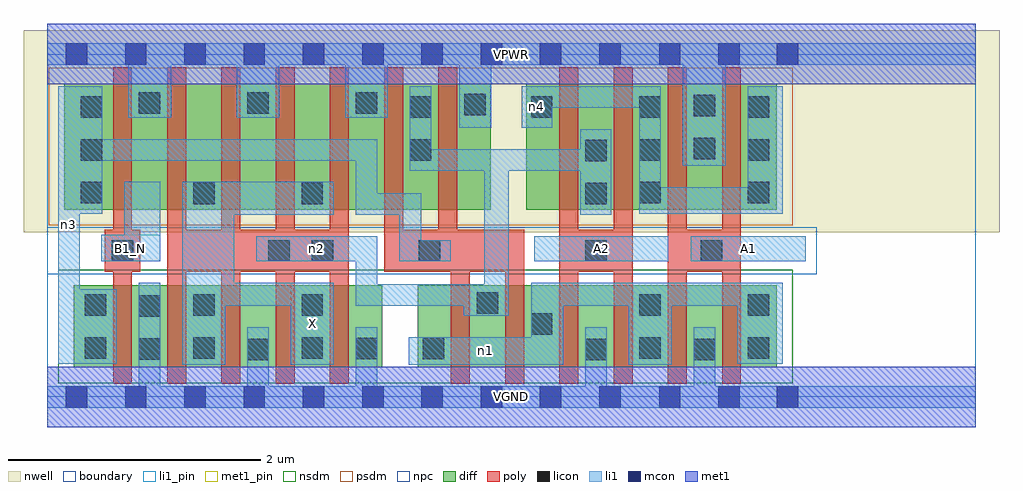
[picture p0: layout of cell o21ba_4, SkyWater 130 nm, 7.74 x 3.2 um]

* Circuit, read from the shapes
.subckt o21ba_4 A1 A2 B1_N VGND VPWR X n1 n2 n3 n4
XM1 VGND B1_N n3 VSUBS sky130_fd_pr__nfet_01v8 w=0.65 l=0.15
XM2 X n2 VGND VSUBS sky130_fd_pr__nfet_01v8 w=0.65 l=0.15 m=4
XM3 n2 n3 n1 VSUBS sky130_fd_pr__nfet_01v8 w=0.65 l=0.15 m=2
XM4 VGND A2 n1 VSUBS sky130_fd_pr__nfet_01v8 w=0.65 l=0.15 m=2
XM5 VGND A1 n1 VSUBS sky130_fd_pr__nfet_01v8 w=0.65 l=0.15 m=2
XM6 VPWR B1_N n3 n5 sky130_fd_pr__pfet_01v8 w=1 l=0.15
XM7 X n2 VPWR n5 sky130_fd_pr__pfet_01v8 w=1 l=0.15 m=4
XM8 n2 n3 VPWR n5 sky130_fd_pr__pfet_01v8 w=1 l=0.15 m=2
XM9 n2 A2 n4 n5 sky130_fd_pr__pfet_01v8 w=1 l=0.15 m=2
XM10 VPWR A1 n4 n5 sky130_fd_pr__pfet_01v8 w=1 l=0.15 m=2
.ends

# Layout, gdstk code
import gdstk
lib = gdstk.Library(unit=1e-6, precision=1e-09)
def R(c, l, rs):  # rectangles x0, y0, x1, y1
    for r in rs: c.add(gdstk.rectangle(r[:2], r[2:], *l))
def A(c, l, x, y, w, h, nx, ny, dx, dy):  # array of equal rectangles
    R(c, l, [(x+i*dx, y+j*dy, x+i*dx+w, y+j*dy+h) for i in range(nx) for j in range(ny)])
nwell = (64, 20)
diff = (65, 20)
poly = (66, 20)
licon = (66, 44)
li1_pin = (67, 16)
li1 = (67, 20)
mcon = (67, 44)
met1_pin = (68, 16)
met1 = (68, 20)
nsdm = (93, 44)
psdm = (94, 20)
npc = (95, 20)
boundary = (235, 4)

o21ba_4 = lib.new_cell('o21ba_4')
R(o21ba_4, nwell, [(-0.19,1.305,7.55,2.91), (0,1.305,7.36,2.91)])
R(o21ba_4, diff, [(0.21,0.235,2.655,0.885), (2.935,0.235,5.785,0.885), (0.135,1.485,3.515,2.485), (3.795,1.485,5.785,2.485)])
A(o21ba_4, poly, 0.52, 0.105, 0.15, 2.51, 5, 1, 0.43, 0)
A(o21ba_4, poly, 4.06, 0.105, 0.15, 2.51, 4, 1, 0.43, 0)
R(o21ba_4, poly, [(3.2,0.105,3.35,1.325), (3.63,0.105,3.78,1.325), (0.455,0.995,0.735,1.325), (0.95,0.995,2.39,1.325), (2.67,0.995,3.78,1.325), (2.67,0.995,2.82,2.615), (3.1,0.995,3.25,2.615), (4.06,0.995,4.64,1.325), (4.92,0.995,5.5,1.325)])
A(o21ba_4, licon, 0.295, 0.305, 0.17, 0.17, 3, 2, 0.86, 0.34)
A(o21ba_4, licon, 0.265, 1.535, 0.17, 0.17, 1, 3, 0, 0.34)
A(o21ba_4, licon, 3.835, 2.215, 0.17, 0.17, 3, 1, 0.86, 0)
A(o21ba_4, licon, 0.725, 2.245, 0.17, 0.17, 3, 1, 0.86, 0)
R(o21ba_4, licon, [(1.585,0.29,1.755,0.46), (4.265,0.29,4.435,0.46), (5.125,0.29,5.295,0.46), (0.725,0.295,0.895,0.465), (2.445,0.3,2.615,0.47), (2.975,0.3,3.145,0.47), (4.695,0.305,4.865,0.475), (5.555,0.305,5.725,0.475), (3.835,0.495,4.005,0.665), (0.725,0.635,0.895,0.805), (4.695,0.645,4.865,0.815), (5.555,0.645,5.725,0.815), (3.405,0.66,3.575,0.83), (0.51,1.075,0.68,1.245), (1.75,1.075,1.92,1.245), (2.095,1.075,2.265,1.245), (2.945,1.075,3.115,1.245), (4.265,1.075,4.435,1.245), (5.18,1.075,5.35,1.245), (1.155,1.53,1.325,1.7), (2.015,1.53,2.185,1.7), (4.265,1.53,4.435,1.7), (4.695,1.535,4.865,1.705), (5.555,1.535,5.725,1.705), (4.265,1.87,4.435,2.04), (2.875,1.875,3.045,2.045), (4.695,1.875,4.865,2.045), (5.555,1.875,5.725,2.045), (5.125,1.885,5.295,2.055), (2.875,2.215,3.045,2.385), (5.125,2.225,5.295,2.395), (3.305,2.235,3.475,2.405)])
R(o21ba_4, li1_pin, [(1.93,0.255,2.27,0.905), (0.425,1.075,0.895,1.285), (3.86,1.075,4.925,1.275), (5.1,1.075,6.015,1.275)])
A(o21ba_4, li1, 0.64, 2.215, 0.34, 0.59, 3, 1, 0.86, 0)
R(o21ba_4, li1, [(0,-0.085,7.36,0.085), (0.725,-0.085,0.895,0.905), (1.585,-0.085,1.755,0.555), (2.445,-0.085,2.615,0.555), (4.265,-0.085,4.435,0.555), (5.125,-0.085,5.295,0.555), (1.07,0.255,1.41,1.705), (1.93,0.255,2.27,0.905), (2.865,0.255,4.09,0.475), (3.835,0.255,4.09,0.905), (4.61,0.255,4.95,0.905), (0.085,0.265,0.255,2.465), (0.085,0.265,0.55,0.855), (5.47,0.265,5.83,0.905), (3.3,0.645,3.66,0.895), (3.465,0.645,3.66,1.965), (1.07,0.725,2.27,0.905), (1.07,0.725,1.48,1.705), (2.445,0.725,3.66,0.895), (2.445,0.725,2.615,1.275), (3.835,0.725,5.83,0.905), (0.425,1.075,0.895,1.285), (0.61,1.075,0.895,1.705), (1.655,1.075,2.615,1.275), (2.79,1.075,2.965,1.615), (2.79,1.075,3.2,1.245), (3.86,1.075,4.925,1.275), (5.1,1.075,6.015,1.275), (1.07,1.445,2.27,1.705), (2.445,1.445,2.615,2.045), (2.445,1.445,2.965,1.615), (4.225,1.445,4.47,2.125), (0.085,1.455,0.435,2.465), (4.695,1.455,5.83,1.665), (4.695,1.455,4.865,2.465), (5.555,1.455,5.83,2.465), (2.875,1.795,4.47,1.965), (2.875,1.795,3.045,2.465), (5.04,1.835,5.38,2.805), (0.085,1.875,2.615,2.045), (3.265,2.135,3.52,2.805), (3.76,2.135,4.005,2.465), (3.76,2.295,4.865,2.465), (0,2.635,7.36,2.805)])
A(o21ba_4, mcon, 0.145, -0.085, 0.17, 0.17, 10, 2, 0.47, 2.72)
R(o21ba_4, mcon, [(4.85,-0.085,5.02,0.085), (5.32,-0.085,5.49,0.085), (5.785,-0.085,5.955,0.085), (4.85,2.635,5.02,2.805), (5.32,2.635,5.49,2.805), (5.785,2.635,5.955,2.805)])
R(o21ba_4, met1_pin, [(0,-0.24,7.36,0.24), (0,2.48,7.36,2.96)])
R(o21ba_4, met1, [(0,-0.24,7.36,0.24), (0,2.48,7.36,2.96)])
R(o21ba_4, nsdm, [(0.085,0.11,5.91,1.01)])
R(o21ba_4, psdm, [(0.01,1.36,5.91,2.61)])
R(o21ba_4, npc, [(0,0.975,6.1,1.345)])
R(o21ba_4, boundary, [(0,0,7.36,2.72)])
o21ba_4.add(gdstk.Label('A1', (5.557,1.175), layer=67, texttype=5))
o21ba_4.add(gdstk.Label('A2', (4.392,1.175), layer=67, texttype=5))
o21ba_4.add(gdstk.Label('B1_N', (0.66,1.18), layer=67, texttype=5))
o21ba_4.add(gdstk.Label('X', (2.1,0.58), layer=67, texttype=5))
o21ba_4.add(gdstk.Label('n1', (3.477,0.365), layer=67, texttype=5))
o21ba_4.add(gdstk.Label('n3', (0.17,1.365), layer=67, texttype=5))
o21ba_4.add(gdstk.Label('n2', (2.135,1.175), layer=67, texttype=5))
o21ba_4.add(gdstk.Label('n4', (3.882,2.3), layer=67, texttype=5))
o21ba_4.add(gdstk.Label('VPWR', (3.68,2.72), layer=68, texttype=5))
o21ba_4.add(gdstk.Label('VGND', (3.68,0), layer=68, texttype=5))
o21ba_4.add(gdstk.Label('A1', (5.557,1.175), layer=67, texttype=16))
o21ba_4.add(gdstk.Label('A2', (4.392,1.175), layer=67, texttype=16))
o21ba_4.add(gdstk.Label('B1_N', (0.66,1.18), layer=67, texttype=16))
o21ba_4.add(gdstk.Label('X', (2.1,0.58), layer=67, texttype=16))
o21ba_4.add(gdstk.Label('VPWR', (3.68,2.72), layer=68, texttype=16))
o21ba_4.add(gdstk.Label('VGND', (3.68,0), layer=68, texttype=16))

lib.write_gds('o21ba_4.gds')
